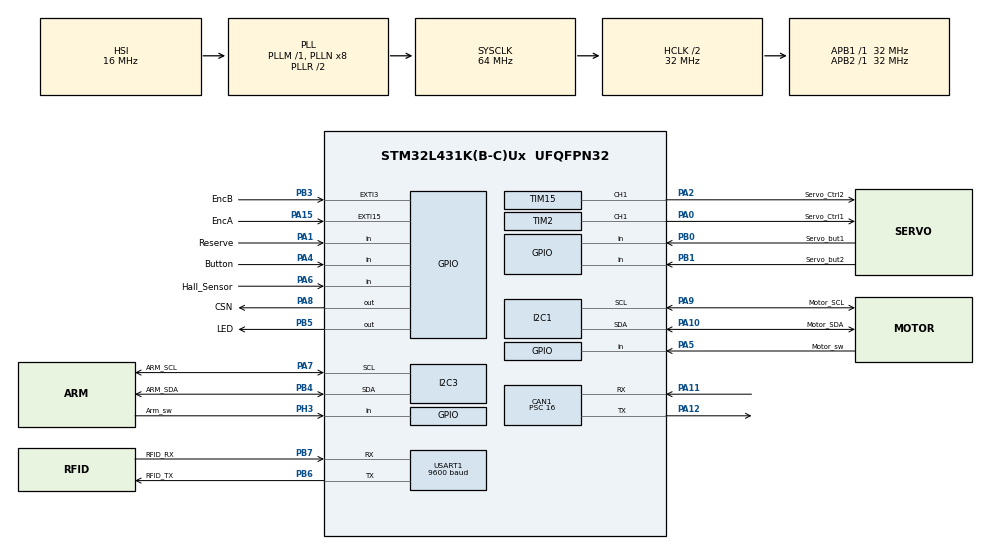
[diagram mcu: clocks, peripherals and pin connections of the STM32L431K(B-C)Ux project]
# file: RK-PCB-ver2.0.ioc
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CAN1.BS1=CAN_BS1_2TQ
CAN1.CalculateBaudRate=500000
CAN1.CalculateTimeBit=2000
CAN1.CalculateTimeQuantum=500.0
CAN1.Prescaler=16
I2C1.Timing=0x00707CBB
I2C3.Timing=0x00707CBB
Mcu.Family=STM32L4
Mcu.Name=STM32L431K(B-C)Ux
Mcu.Package=UFQFPN32
NVIC.CAN1_RX0_IRQn=true\:2\:0\:true\:false\:true\:true\:true\:true
NVIC.CAN1_TX_IRQn=true\:2\:0\:true\:false\:true\:true\:true\:true
NVIC.EXTI15_10_IRQn=true\:0\:0\:false\:false\:true\:true\:true\:true
NVIC.EXTI3_IRQn=true\:0\:0\:false\:false\:true\:true\:true\:true
NVIC.PriorityGroup=NVIC_PRIORITYGROUP_4
NVIC.TIM6_DAC_IRQn=true\:3\:0\:true\:false\:true\:true\:true\:true
NVIC.TIM7_IRQn=true\:0\:0\:false\:false\:true\:true\:true\:true
NVIC.USART1_IRQn=true\:3\:0\:true\:false\:true\:true\:true\:true
PA0.GPIO_Label=Servo_Ctrl1
PA0.Signal=S_TIM2_CH1
PA1.GPIO_Label=Reserve
PA1.Signal=GPIO_Input
PA10.GPIO_Label=Motor_SDA
PA10.Mode=I2C
PA10.Signal=I2C1_SDA
PA11.GPIO_PuPd=GPIO_NOPULL
PA11.Mode=CAN_Activate
PA11.Signal=CAN1_RX
PA12.GPIO_PuPd=GPIO_NOPULL
PA12.Mode=CAN_Activate
PA12.Signal=CAN1_TX
PA13\ (JTMS-SWDIO).Mode=Serial_Wire
PA13\ (JTMS-SWDIO).Signal=SYS_JTMS-SWDIO
PA14\ (JTCK-SWCLK).Mode=Serial_Wire
PA14\ (JTCK-SWCLK).Signal=SYS_JTCK-SWCLK
PA15\ (JTDI).GPIO_Label=EncA
PA15\ (JTDI).GPIO_ModeDefaultEXTI=GPIO_MODE_IT_RISING_FALLING
PA15\ (JTDI).Signal=GPXTI15
PA2.GPIO_Label=Servo_Ctrl2
PA2.Signal=S_TIM15_CH1
PA4.GPIO_Label=Button
PA4.Signal=GPIO_Input
PA5.GPIO_Label=Motor_sw
PA5.GPIO_PuPd=GPIO_PULLUP
PA5.Signal=GPIO_Input
PA6.GPIO_Label=Hall_Sensor
PA6.GPIO_PuPd=GPIO_PULLUP
PA6.Signal=GPIO_Input
PA7.GPIO_Label=ARM_SCL
PA7.Mode=I2C
PA7.Signal=I2C3_SCL
PA8.GPIO_Label=CSN
PA8.Signal=GPIO_Output
PA9.GPIO_Label=Motor_SCL
PA9.Mode=I2C
PA9.Signal=I2C1_SCL
PB0.GPIO_Label=Servo_but1
PB0.Signal=GPIO_Input
PB1.GPIO_Label=Servo_but2
PB1.Signal=GPIO_Input
PB3\ (JTDO-TRACESWO).GPIO_Label=EncB
PB3\ (JTDO-TRACESWO).GPIO_ModeDefaultEXTI=GPIO_MODE_IT_RISING_FALLING
PB3\ (JTDO-TRACESWO).Signal=GPXTI3
PB4\ (NJTRST).GPIO_Label=ARM_SDA
PB4\ (NJTRST).Mode=I2C
PB4\ (NJTRST).Signal=I2C3_SDA
PB5.GPIO_Label=LED
PB5.Signal=GPIO_Output
PB6.GPIO_Label=RFID_TX
PB6.Mode=Asynchronous
PB6.Signal=USART1_TX
PB7.GPIO_Label=RFID_RX
PB7.Mode=Asynchronous
PB7.Signal=USART1_RX
PH3-BOOT0.GPIO_Label=Arm_sw
PH3-BOOT0.GPIO_PuPd=GPIO_PULLUP
PH3-BOOT0.Signal=GPIO_Input
ProjectManager.HeapSize=0x200
ProjectManager.StackSize=0x400
ProjectManager.TargetToolchain=STM32CubeIDE
RCC.ADCFreq_Value=64000000
RCC.AHBCLKDivider=RCC_SYSCLK_DIV2
RCC.AHBFreq_Value=32000000
RCC.APB1Freq_Value=32000000
RCC.APB1TimFreq_Value=32000000
RCC.APB2Freq_Value=32000000
RCC.APB2TimFreq_Value=32000000
RCC.CortexFreq_Value=32000000
RCC.HCLKFreq_Value=32000000
RCC.HSE_VALUE=8000000
RCC.HSI48_VALUE=48000000
RCC.HSI_VALUE=16000000
RCC.LSE_VALUE=32768
RCC.MSIClockRange=RCC_MSIRANGE_10
RCC.MSI_VALUE=32000000
RCC.PLLSourceVirtual=RCC_PLLSOURCE_HSI
RCC.SYSCLKFreq_VALUE=64000000
RCC.SYSCLKSource=RCC_SYSCLKSOURCE_PLLCLK
RCC.VCOOutputFreq_Value=128000000
SH.S_TIM15_CH1.0=TIM15_CH1,PWM Generation1 CH1
SH.S_TIM2_CH1.0=TIM2_CH1,PWM Generation1 CH1
TIM15.Channel-PWM\ Generation1\ CH1=TIM_CHANNEL_1
TIM2.Channel-PWM\ Generation1\ CH1=TIM_CHANNEL_1
TIM6.AutoReloadPreload=TIM_AUTORELOAD_PRELOAD_ENABLE
TIM6.Period=1000
TIM6.Prescaler=31
TIM7.AutoReloadPreload=TIM_AUTORELOAD_PRELOAD_ENABLE
TIM7.Period=450
TIM7.Prescaler=31
USART1.BaudRate=9600
USART1.VirtualMode-Asynchronous=VM_ASYNC
VP_TIM6_VS_ClockSourceINT.Mode=Enable_Timer
VP_TIM7_VS_ClockSourceINT.Mode=Enable_Timer
board=custom

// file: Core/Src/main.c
/* USER CODE BEGIN Header */
/**
 ******************************************************************************
 * @file           : main.c
 * @brief          : Main program body
 ******************************************************************************
 * @attention
 *
 * Copyright (c) 2024 STMicroelectronics.
 * All rights reserved.
 *
 * This software is licensed under terms that can be found in the LICENSE file
 * in the root directory of this software component.
 * If no LICENSE file comes with this software, it is provided AS-IS.
 *
 ******************************************************************************
 */
/* USER CODE END Header */
#include "main.h"

/* USER CODE BEGIN Includes */
#include "switches.h"
#include "enc.h"
#include "rk_uart.h"
#include "rk_can.h"
#include "rk_timer.h"
#include "comm_processing.h"
#include "app.h"
#include "rk_mt6701.h"
/* USER CODE END Includes */

CAN_HandleTypeDef hcan1;

I2C_HandleTypeDef hi2c1;
I2C_HandleTypeDef hi2c3;

TIM_HandleTypeDef htim2;
TIM_HandleTypeDef htim6;
TIM_HandleTypeDef htim7;
TIM_HandleTypeDef htim15;

UART_HandleTypeDef huart1;

void SystemClock_Config(void);
static void MX_GPIO_Init(void);
static void MX_CAN1_Init(void);
static void MX_I2C1_Init(void);
static void MX_I2C3_Init(void);
static void MX_TIM2_Init(void);
static void MX_TIM15_Init(void);
static void MX_USART1_UART_Init(void);
static void MX_TIM7_Init(void);
static void MX_TIM6_Init(void);
/* USER CODE BEGIN PFP */
void Init_Peripheral(void);
/* USER CODE END PFP */

int main(void)
{

  /* MCU Configuration--------------------------------------------------------*/

  /* Reset of all peripherals, Initializes the Flash interface and the Systick. */
  HAL_Init();

  /* Configure the system clock */
  SystemClock_Config();

  /* Initialize all configured peripherals */
  MX_GPIO_Init();
  MX_CAN1_Init();
  MX_I2C1_Init();
  MX_I2C3_Init();
  MX_TIM2_Init();
  MX_TIM15_Init();
  MX_USART1_UART_Init();
  MX_TIM7_Init();
  MX_TIM6_Init();
  /* USER CODE BEGIN 2 */
  Init_Peripheral();
  APP_Init();
  /* USER CODE END 2 */

  /* Infinite loop */
  while(1)
  {

    /* USER CODE BEGIN 3 */

//    Process_Communication();
    APP_Run();

//		Process_communication(domain_rf);
//		if(Is_Data_Ready(domain_main) == DATA_READY)
//		{
//			Parse_Main_Data(domain_main);
//			Receive_Data(domain_main);
//		}
//		if(Is_Data_Ready(domain_rfid) == DATA_READY)
//		{
//			Parse_RFID_Data(domain_rfid);
//			Receive_Data(domain_rfid);
//		}
//		Send_Request_RF_Tag(domain_rfid);    // ������������� ������ id �����
  }
  /* USER CODE END 3 */
}

void SystemClock_Config(void)
{
  RCC_OscInitTypeDef RCC_OscInitStruct = {0};
  RCC_ClkInitTypeDef RCC_ClkInitStruct = {0};

  /** Configure the main internal regulator output voltage
  */
  if (HAL_PWREx_ControlVoltageScaling(PWR_REGULATOR_VOLTAGE_SCALE1) != HAL_OK)
  {
    Error_Handler();
  }

  /** Initializes the RCC Oscillators according to the specified parameters
  * in the RCC_OscInitTypeDef structure.
  */
  RCC_OscInitStruct.OscillatorType = RCC_OSCILLATORTYPE_HSI;
  RCC_OscInitStruct.HSIState = RCC_HSI_ON;
  RCC_OscInitStruct.HSICalibrationValue = RCC_HSICALIBRATION_DEFAULT;
  RCC_OscInitStruct.PLL.PLLState = RCC_PLL_ON;
  RCC_OscInitStruct.PLL.PLLSource = RCC_PLLSOURCE_HSI;
  RCC_OscInitStruct.PLL.PLLM = 1;
  RCC_OscInitStruct.PLL.PLLN = 8;
  RCC_OscInitStruct.PLL.PLLP = RCC_PLLP_DIV7;
  RCC_OscInitStruct.PLL.PLLQ = RCC_PLLQ_DIV2;
  RCC_OscInitStruct.PLL.PLLR = RCC_PLLR_DIV2;
  if (HAL_RCC_OscConfig(&RCC_OscInitStruct) != HAL_OK)
  {
    Error_Handler();
  }

  /** Initializes the CPU, AHB and APB buses clocks
  */
  RCC_ClkInitStruct.ClockType = RCC_CLOCKTYPE_HCLK|RCC_CLOCKTYPE_SYSCLK
                              |RCC_CLOCKTYPE_PCLK1|RCC_CLOCKTYPE_PCLK2;
  RCC_ClkInitStruct.SYSCLKSource = RCC_SYSCLKSOURCE_PLLCLK;
  RCC_ClkInitStruct.AHBCLKDivider = RCC_SYSCLK_DIV2;
  RCC_ClkInitStruct.APB1CLKDivider = RCC_HCLK_DIV1;
  RCC_ClkInitStruct.APB2CLKDivider = RCC_HCLK_DIV1;

  if (HAL_RCC_ClockConfig(&RCC_ClkInitStruct, FLASH_LATENCY_1) != HAL_OK)
  {
    Error_Handler();
  }
}

static void MX_CAN1_Init(void)
{

  hcan1.Instance = CAN1;
  hcan1.Init.Prescaler = 16;
  hcan1.Init.Mode = CAN_MODE_NORMAL;
  hcan1.Init.SyncJumpWidth = CAN_SJW_1TQ;
  hcan1.Init.TimeSeg1 = CAN_BS1_2TQ;
  hcan1.Init.TimeSeg2 = CAN_BS2_1TQ;
  hcan1.Init.TimeTriggeredMode = DISABLE;
  hcan1.Init.AutoBusOff = DISABLE;
  hcan1.Init.AutoWakeUp = DISABLE;
  hcan1.Init.AutoRetransmission = DISABLE;
  hcan1.Init.ReceiveFifoLocked = DISABLE;
  hcan1.Init.TransmitFifoPriority = DISABLE;
  if (HAL_CAN_Init(&hcan1) != HAL_OK)
  {
    Error_Handler();
  }
  /* USER CODE BEGIN CAN1_Init 2 */
  // Configure the CAN filter
      CAN_FilterTypeDef sFilterConfig;
      sFilterConfig.FilterBank = 0;
      sFilterConfig.FilterMode = CAN_FILTERMODE_IDLIST;
      sFilterConfig.FilterScale = CAN_FILTERSCALE_32BIT;
      sFilterConfig.FilterIdHigh = RKC_ID << 5;
      sFilterConfig.FilterIdLow = 0x0000;
      sFilterConfig.FilterMaskIdHigh = 0x0000;
      sFilterConfig.FilterMaskIdLow = 0x0000;
      sFilterConfig.FilterFIFOAssignment = CAN_FILTER_FIFO0;
      sFilterConfig.FilterActivation = ENABLE;
      sFilterConfig.SlaveStartFilterBank = 14;

      if (HAL_CAN_ConfigFilter(&hcan1, &sFilterConfig) != HAL_OK) {
          // Filter configuration Error
          Error_Handler();
      }
  /* USER CODE END CAN1_Init 2 */

}

static void MX_I2C1_Init(void)
{

  hi2c1.Instance = I2C1;
  hi2c1.Init.Timing = 0x00707CBB;
  hi2c1.Init.OwnAddress1 = 0;
  hi2c1.Init.AddressingMode = I2C_ADDRESSINGMODE_7BIT;
  hi2c1.Init.DualAddressMode = I2C_DUALADDRESS_DISABLE;
  hi2c1.Init.OwnAddress2 = 0;
  hi2c1.Init.OwnAddress2Masks = I2C_OA2_NOMASK;
  hi2c1.Init.GeneralCallMode = I2C_GENERALCALL_DISABLE;
  hi2c1.Init.NoStretchMode = I2C_NOSTRETCH_DISABLE;
  if (HAL_I2C_Init(&hi2c1) != HAL_OK)
  {
    Error_Handler();
  }

  /** Configure Analogue filter
  */
  if (HAL_I2CEx_ConfigAnalogFilter(&hi2c1, I2C_ANALOGFILTER_ENABLE) != HAL_OK)
  {
    Error_Handler();
  }

  /** Configure Digital filter
  */
  if (HAL_I2CEx_ConfigDigitalFilter(&hi2c1, 0) != HAL_OK)
  {
    Error_Handler();
  }

}

static void MX_I2C3_Init(void)
{

  hi2c3.Instance = I2C3;
  hi2c3.Init.Timing = 0x00707CBB;
  hi2c3.Init.OwnAddress1 = 0;
  hi2c3.Init.AddressingMode = I2C_ADDRESSINGMODE_7BIT;
  hi2c3.Init.DualAddressMode = I2C_DUALADDRESS_DISABLE;
  hi2c3.Init.OwnAddress2 = 0;
  hi2c3.Init.OwnAddress2Masks = I2C_OA2_NOMASK;
  hi2c3.Init.GeneralCallMode = I2C_GENERALCALL_DISABLE;
  hi2c3.Init.NoStretchMode = I2C_NOSTRETCH_DISABLE;
  if (HAL_I2C_Init(&hi2c3) != HAL_OK)
  {
    Error_Handler();
  }

  /** Configure Analogue filter
  */
  if (HAL_I2CEx_ConfigAnalogFilter(&hi2c3, I2C_ANALOGFILTER_ENABLE) != HAL_OK)
  {
    Error_Handler();
  }

  /** Configure Digital filter
  */
  if (HAL_I2CEx_ConfigDigitalFilter(&hi2c3, 0) != HAL_OK)
  {
    Error_Handler();
  }

}

static void MX_TIM2_Init(void)
{

  TIM_MasterConfigTypeDef sMasterConfig = {0};
  TIM_OC_InitTypeDef sConfigOC = {0};

  htim2.Instance = TIM2;
  htim2.Init.Prescaler = 0;
  htim2.Init.CounterMode = TIM_COUNTERMODE_UP;
  htim2.Init.Period = 4294967295;
  htim2.Init.ClockDivision = TIM_CLOCKDIVISION_DIV1;
  htim2.Init.AutoReloadPreload = TIM_AUTORELOAD_PRELOAD_DISABLE;
  if (HAL_TIM_PWM_Init(&htim2) != HAL_OK)
  {
    Error_Handler();
  }
  sMasterConfig.MasterOutputTrigger = TIM_TRGO_RESET;
  sMasterConfig.MasterSlaveMode = TIM_MASTERSLAVEMODE_DISABLE;
  if (HAL_TIMEx_MasterConfigSynchronization(&htim2, &sMasterConfig) != HAL_OK)
  {
    Error_Handler();
  }
  sConfigOC.OCMode = TIM_OCMODE_PWM1;
  sConfigOC.Pulse = 0;
  sConfigOC.OCPolarity = TIM_OCPOLARITY_HIGH;
  sConfigOC.OCFastMode = TIM_OCFAST_DISABLE;
  if (HAL_TIM_PWM_ConfigChannel(&htim2, &sConfigOC, TIM_CHANNEL_1) != HAL_OK)
  {
    Error_Handler();
  }
  HAL_TIM_MspPostInit(&htim2);

}

static void MX_TIM6_Init(void)
{

  TIM_MasterConfigTypeDef sMasterConfig = {0};

  htim6.Instance = TIM6;
  htim6.Init.Prescaler = 31;
  htim6.Init.CounterMode = TIM_COUNTERMODE_UP;
  htim6.Init.Period = 1000;
  htim6.Init.AutoReloadPreload = TIM_AUTORELOAD_PRELOAD_ENABLE;
  if (HAL_TIM_Base_Init(&htim6) != HAL_OK)
  {
    Error_Handler();
  }
  sMasterConfig.MasterOutputTrigger = TIM_TRGO_RESET;
  sMasterConfig.MasterSlaveMode = TIM_MASTERSLAVEMODE_DISABLE;
  if (HAL_TIMEx_MasterConfigSynchronization(&htim6, &sMasterConfig) != HAL_OK)
  {
    Error_Handler();
  }

}

static void MX_TIM7_Init(void)
{

  TIM_MasterConfigTypeDef sMasterConfig = {0};

  htim7.Instance = TIM7;
  htim7.Init.Prescaler = 31;
  htim7.Init.CounterMode = TIM_COUNTERMODE_UP;
  htim7.Init.Period = 450;
  htim7.Init.AutoReloadPreload = TIM_AUTORELOAD_PRELOAD_ENABLE;
  if (HAL_TIM_Base_Init(&htim7) != HAL_OK)
  {
    Error_Handler();
  }
  sMasterConfig.MasterOutputTrigger = TIM_TRGO_RESET;
  sMasterConfig.MasterSlaveMode = TIM_MASTERSLAVEMODE_DISABLE;
  if (HAL_TIMEx_MasterConfigSynchronization(&htim7, &sMasterConfig) != HAL_OK)
  {
    Error_Handler();
  }

}

static void MX_TIM15_Init(void)
{

  TIM_MasterConfigTypeDef sMasterConfig = {0};
  TIM_OC_InitTypeDef sConfigOC = {0};
  TIM_BreakDeadTimeConfigTypeDef sBreakDeadTimeConfig = {0};

  htim15.Instance = TIM15;
  htim15.Init.Prescaler = 0;
  htim15.Init.CounterMode = TIM_COUNTERMODE_UP;
  htim15.Init.Period = 65535;
  htim15.Init.ClockDivision = TIM_CLOCKDIVISION_DIV1;
  htim15.Init.RepetitionCounter = 0;
  htim15.Init.AutoReloadPreload = TIM_AUTORELOAD_PRELOAD_DISABLE;
  if (HAL_TIM_PWM_Init(&htim15) != HAL_OK)
  {
    Error_Handler();
  }
  sMasterConfig.MasterOutputTrigger = TIM_TRGO_RESET;
  sMasterConfig.MasterSlaveMode = TIM_MASTERSLAVEMODE_DISABLE;
  if (HAL_TIMEx_MasterConfigSynchronization(&htim15, &sMasterConfig) != HAL_OK)
  {
    Error_Handler();
  }
  sConfigOC.OCMode = TIM_OCMODE_PWM1;
  sConfigOC.Pulse = 0;
  sConfigOC.OCPolarity = TIM_OCPOLARITY_HIGH;
  sConfigOC.OCNPolarity = TIM_OCNPOLARITY_HIGH;
  sConfigOC.OCFastMode = TIM_OCFAST_DISABLE;
  sConfigOC.OCIdleState = TIM_OCIDLESTATE_RESET;
  sConfigOC.OCNIdleState = TIM_OCNIDLESTATE_RESET;
  if (HAL_TIM_PWM_ConfigChannel(&htim15, &sConfigOC, TIM_CHANNEL_1) != HAL_OK)
  {
    Error_Handler();
  }
  sBreakDeadTimeConfig.OffStateRunMode = TIM_OSSR_DISABLE;
  sBreakDeadTimeConfig.OffStateIDLEMode = TIM_OSSI_DISABLE;
  sBreakDeadTimeConfig.LockLevel = TIM_LOCKLEVEL_OFF;
  sBreakDeadTimeConfig.DeadTime = 0;
  sBreakDeadTimeConfig.BreakState = TIM_BREAK_DISABLE;
  sBreakDeadTimeConfig.BreakPolarity = TIM_BREAKPOLARITY_HIGH;
  sBreakDeadTimeConfig.AutomaticOutput = TIM_AUTOMATICOUTPUT_DISABLE;
  if (HAL_TIMEx_ConfigBreakDeadTime(&htim15, &sBreakDeadTimeConfig) != HAL_OK)
  {
    Error_Handler();
  }
  HAL_TIM_MspPostInit(&htim15);

}

static void MX_USART1_UART_Init(void)
{

  huart1.Instance = USART1;
  huart1.Init.BaudRate = 9600;
  huart1.Init.WordLength = UART_WORDLENGTH_8B;
  huart1.Init.StopBits = UART_STOPBITS_1;
  huart1.Init.Parity = UART_PARITY_NONE;
  huart1.Init.Mode = UART_MODE_TX_RX;
  huart1.Init.HwFlowCtl = UART_HWCONTROL_NONE;
  huart1.Init.OverSampling = UART_OVERSAMPLING_16;
  huart1.Init.OneBitSampling = UART_ONE_BIT_SAMPLE_DISABLE;
  huart1.AdvancedInit.AdvFeatureInit = UART_ADVFEATURE_NO_INIT;
  if (HAL_UART_Init(&huart1) != HAL_OK)
  {
    Error_Handler();
  }

}

static void MX_GPIO_Init(void)
{
  GPIO_InitTypeDef GPIO_InitStruct = {0};

  /* GPIO Ports Clock Enable */
  __HAL_RCC_GPIOA_CLK_ENABLE();
  __HAL_RCC_GPIOB_CLK_ENABLE();
  __HAL_RCC_GPIOH_CLK_ENABLE();

  /*Configure GPIO pin Output Level */
  HAL_GPIO_WritePin(CSN_GPIO_Port, CSN_Pin, GPIO_PIN_RESET);

  /*Configure GPIO pin Output Level */
  HAL_GPIO_WritePin(LED_GPIO_Port, LED_Pin, GPIO_PIN_RESET);

  /*Configure GPIO pins : Reserve_Pin Button_Pin */
  GPIO_InitStruct.Pin = Reserve_Pin|Button_Pin;
  GPIO_InitStruct.Mode = GPIO_MODE_INPUT;
  GPIO_InitStruct.Pull = GPIO_NOPULL;
  HAL_GPIO_Init(GPIOA, &GPIO_InitStruct);

  /*Configure GPIO pins : Motor_sw_Pin Hall_Sensor_Pin */
  GPIO_InitStruct.Pin = Motor_sw_Pin|Hall_Sensor_Pin;
  GPIO_InitStruct.Mode = GPIO_MODE_INPUT;
  GPIO_InitStruct.Pull = GPIO_PULLUP;
  HAL_GPIO_Init(GPIOA, &GPIO_InitStruct);

  /*Configure GPIO pins : Servo_but1_Pin Servo_but2_Pin */
  GPIO_InitStruct.Pin = Servo_but1_Pin|Servo_but2_Pin;
  GPIO_InitStruct.Mode = GPIO_MODE_INPUT;
  GPIO_InitStruct.Pull = GPIO_NOPULL;
  HAL_GPIO_Init(GPIOB, &GPIO_InitStruct);

  /*Configure GPIO pin : CSN_Pin */
  GPIO_InitStruct.Pin = CSN_Pin;
  GPIO_InitStruct.Mode = GPIO_MODE_OUTPUT_PP;
  GPIO_InitStruct.Pull = GPIO_NOPULL;
  GPIO_InitStruct.Speed = GPIO_SPEED_FREQ_LOW;
  HAL_GPIO_Init(CSN_GPIO_Port, &GPIO_InitStruct);

  /*Configure GPIO pin : EncA_Pin */
  GPIO_InitStruct.Pin = EncA_Pin;
  GPIO_InitStruct.Mode = GPIO_MODE_IT_RISING_FALLING;
  GPIO_InitStruct.Pull = GPIO_NOPULL;
  HAL_GPIO_Init(EncA_GPIO_Port, &GPIO_InitStruct);

  /*Configure GPIO pin : EncB_Pin */
  GPIO_InitStruct.Pin = EncB_Pin;
  GPIO_InitStruct.Mode = GPIO_MODE_IT_RISING_FALLING;
  GPIO_InitStruct.Pull = GPIO_NOPULL;
  HAL_GPIO_Init(EncB_GPIO_Port, &GPIO_InitStruct);

  /*Configure GPIO pin : LED_Pin */
  GPIO_InitStruct.Pin = LED_Pin;
  GPIO_InitStruct.Mode = GPIO_MODE_OUTPUT_PP;
  GPIO_InitStruct.Pull = GPIO_NOPULL;
  GPIO_InitStruct.Speed = GPIO_SPEED_FREQ_LOW;
  HAL_GPIO_Init(LED_GPIO_Port, &GPIO_InitStruct);

  /*Configure GPIO pin : Arm_sw_Pin */
  GPIO_InitStruct.Pin = Arm_sw_Pin;
  GPIO_InitStruct.Mode = GPIO_MODE_INPUT;
  GPIO_InitStruct.Pull = GPIO_PULLUP;
  HAL_GPIO_Init(Arm_sw_GPIO_Port, &GPIO_InitStruct);

  /* EXTI interrupt init*/
  HAL_NVIC_SetPriority(EXTI3_IRQn, 0, 0);
  HAL_NVIC_EnableIRQ(EXTI3_IRQn);

  HAL_NVIC_SetPriority(EXTI15_10_IRQn, 0, 0);
  HAL_NVIC_EnableIRQ(EXTI15_10_IRQn);

}

/* USER CODE BEGIN 4 */
void Init_Peripheral(void)
{
  TM_Init();
  RKU_Set_Uart_Instance(RKU_RFID, &huart1);
  RKC_Set_CAN_Instance(RKC_MAIN, &hcan1);
  MT_Init(MT_MOTOR, &hi2c1);
}

/* USER CODE END 4 */

void Error_Handler(void)
{
  __disable_irq();
  while(1)
  {
  }
}
